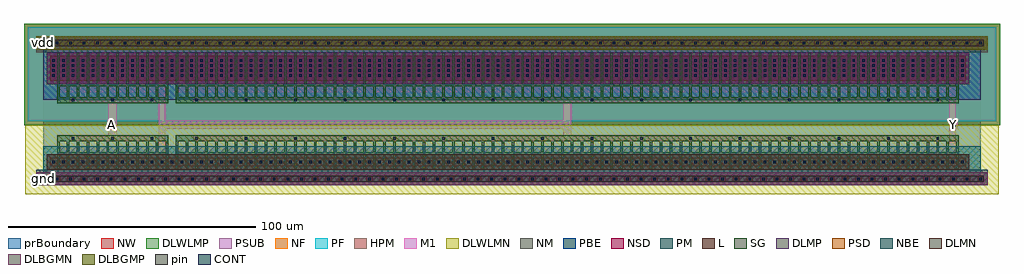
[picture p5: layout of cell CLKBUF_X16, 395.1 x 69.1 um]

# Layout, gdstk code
import gdstk
lib = gdstk.Library(unit=1e-6, precision=1e-09)
def R(c, l, rs):  # rectangles x0, y0, x1, y1
    for r in rs: c.add(gdstk.rectangle(r[:2], r[2:], *l))
def A(c, l, x, y, w, h, nx, ny, dx, dy):  # array of equal rectangles
    R(c, l, [(x+i*dx, y+j*dy, x+i*dx+w, y+j*dy+h) for i in range(nx) for j in range(ny)])
def P(c, l, *ps):  # polygons
    for p in ps: c.add(gdstk.Polygon(p, *l))
L = (3, 0)
NM = (7, 0)
SG = (8, 0)
PSD = (9, 0)
CONT = (11, 0)
M1 = (13, 0)
NF = (25, 0)
PF = (26, 0)
NSD = (28, 0)
HPM = (33, 0)
PM = (35, 0)
NW = (36, 0)
pin = (48, 1)
PSUB = (140, 0)
PBE = (146, 0)
NBE = (147, 0)
DLWLMP = (150, 0)
DLWLMN = (151, 0)
DLMP = (157, 0)
DLMN = (158, 0)
DLBGMP = (177, 0)
DLBGMN = (178, 0)
prBoundary = (235, 0)

clkbuf_x16 = lib.new_cell('CLKBUF_X16')
A(clkbuf_x16, L, -1.3, -1.3, 2.6, 2.6, 70, 2, 5.5, 55)
R(clkbuf_x16, L, [(2.8,5.1,373.4,8.5), (2.8,39.7,373.4,49.9)])
R(clkbuf_x16, NM, [(-2.75,-2.7,382.25,2.7)])
P(clkbuf_x16, NM, [(1.4,38.3),(1.4,51.3),(-2.75,51.3),(-2.75,57.7),(382.25,57.7),(382.25,51.3),(374.8,51.3),(374.8,38.3)])
P(clkbuf_x16, SG, [(5.6,3.9),(5.6,15.1),(6.6,15.1),(6.6,10.7),(9.6,10.7),(9.6,15.1),(10.6,15.1),(10.6,10.7),(13.6,10.7),(13.6,15.1),(14.6,15.1),(14.6,10.7),(17.6,10.7),(17.6,15.1),(18.6,15.1),(18.6,10.7),(21.6,10.7),(21.6,15.1),(22.6,15.1),(22.6,10.7),(25.6,10.7),(25.6,15.1),(26.6,15.1),(26.6,10.7),(29.6,10.7),(29.6,15.1),(30.6,15.1),(30.6,10.7),(33.6,10.7),(33.6,15.1),(34.6,15.1),(34.6,10.7),(37.6,10.7),(37.6,15.1),(38.6,15.1),(38.6,10.7),(41.6,10.7),(41.6,15.1),(42.6,15.1),(42.6,10.7),(45.6,10.7),(45.6,15.1),(46.6,15.1),(46.6,10.7),(49.6,10.7),(49.6,15.1),(5.6,15.1),(5.6,17.7),(50.6,17.7),(50.6,3.9),(49.6,3.9),(49.6,9.7),(46.6,9.7),(46.6,3.9),(45.6,3.9),(45.6,9.7),(42.6,9.7),(42.6,3.9),(41.6,3.9),(41.6,9.7),(38.6,9.7),(38.6,3.9),(37.6,3.9),(37.6,9.7),(34.6,9.7),(34.6,3.9),(33.6,3.9),(33.6,9.7),(30.6,9.7),(30.6,3.9),(29.6,3.9),(29.6,9.7),(26.6,9.7),(26.6,3.9),(25.6,3.9),(25.6,9.7),(22.6,9.7),(22.6,3.9),(21.6,3.9),(21.6,9.7),(18.6,9.7),(18.6,3.9),(17.6,3.9),(17.6,9.7),(14.6,9.7),(14.6,3.9),(13.6,3.9),(13.6,9.7),(10.6,9.7),(10.6,3.9),(9.6,3.9),(9.6,9.7),(6.6,9.7),(6.6,3.9)],
  [(53.6,3.9),(53.6,15.1),(54.6,15.1),(54.6,10.7),(57.6,10.7),(57.6,15.1),(58.6,15.1),(58.6,10.7),(61.6,10.7),(61.6,15.1),(62.6,15.1),(62.6,10.7),(65.6,10.7),(65.6,15.1),(66.6,15.1),(66.6,10.7),(69.6,10.7),(69.6,15.1),(70.6,15.1),(70.6,10.7),(73.6,10.7),(73.6,15.1),(74.6,15.1),(74.6,10.7),(77.6,10.7),(77.6,15.1),(78.6,15.1),(78.6,10.7),(81.6,10.7),(81.6,15.1),(82.6,15.1),(82.6,10.7),(85.6,10.7),(85.6,15.1),(86.6,15.1),(86.6,10.7),(89.6,10.7),(89.6,15.1),(90.6,15.1),(90.6,10.7),(93.6,10.7),(93.6,15.1),(94.6,15.1),(94.6,10.7),(97.6,10.7),(97.6,15.1),(98.6,15.1),(98.6,10.7),(101.6,10.7),(101.6,15.1),(102.6,15.1),(102.6,10.7),(105.6,10.7),(105.6,15.1),(106.6,15.1),(106.6,10.7),(109.6,10.7),(109.6,15.1),(110.6,15.1),(110.6,10.7),(113.6,10.7),(113.6,15.1),(114.6,15.1),(114.6,10.7),(117.6,10.7),(117.6,15.1),(118.6,15.1),(118.6,10.7),(121.6,10.7),(121.6,15.1),(122.6,15.1),(122.6,10.7),(125.6,10.7),(125.6,15.1),(126.6,15.1),(126.6,10.7),(129.6,10.7),(129.6,15.1),(130.6,15.1),(130.6,10.7),(133.6,10.7),(133.6,15.1),(134.6,15.1),(134.6,10.7),(137.6,10.7),(137.6,15.1),(138.6,15.1),(138.6,10.7),(141.6,10.7),(141.6,15.1),(142.6,15.1),(142.6,10.7),(145.6,10.7),(145.6,15.1),(146.6,15.1),(146.6,10.7),(149.6,10.7),(149.6,15.1),(150.6,15.1),(150.6,10.7),(153.6,10.7),(153.6,15.1),(154.6,15.1),(154.6,10.7),(157.6,10.7),(157.6,15.1),(158.6,15.1),(158.6,10.7),(161.6,10.7),(161.6,15.1),(162.6,15.1),(162.6,10.7),(165.6,10.7),(165.6,15.1),(166.6,15.1),(166.6,10.7),(169.6,10.7),(169.6,15.1),(170.6,15.1),(170.6,10.7),(173.6,10.7),(173.6,15.1),(174.6,15.1),(174.6,10.7),(177.6,10.7),(177.6,15.1),(178.6,15.1),(178.6,10.7),(181.6,10.7),(181.6,15.1),(182.6,15.1),(182.6,10.7),(185.6,10.7),(185.6,15.1),(186.6,15.1),(186.6,10.7),(189.6,10.7),(189.6,15.1),(190.6,15.1),(190.6,10.7),(193.6,10.7),(193.6,15.1),(194.6,15.1),(194.6,10.7),(197.6,10.7),(197.6,15.1),(198.6,15.1),(198.6,10.7),(201.6,10.7),(201.6,15.1),(202.6,15.1),(202.6,10.7),(205.6,10.7),(205.6,15.1),(206.6,15.1),(206.6,10.7),(209.6,10.7),(209.6,15.1),(210.6,15.1),(210.6,10.7),(213.6,10.7),(213.6,15.1),(214.6,15.1),(214.6,10.7),(217.6,10.7),(217.6,15.1),(218.6,15.1),(218.6,10.7),(221.6,10.7),(221.6,15.1),(222.6,15.1),(222.6,10.7),(225.6,10.7),(225.6,15.1),(226.6,15.1),(226.6,10.7),(229.6,10.7),(229.6,15.1),(230.6,15.1),(230.6,10.7),(233.6,10.7),(233.6,15.1),(234.6,15.1),(234.6,10.7),(237.6,10.7),(237.6,15.1),(238.6,15.1),(238.6,10.7),(241.6,10.7),(241.6,15.1),(242.6,15.1),(242.6,10.7),(245.6,10.7),(245.6,15.1),(246.6,15.1),(246.6,10.7),(249.6,10.7),(249.6,15.1),(250.6,15.1),(250.6,10.7),(253.6,10.7),(253.6,15.1),(254.6,15.1),(254.6,10.7),(257.6,10.7),(257.6,15.1),(258.6,15.1),(258.6,10.7),(261.6,10.7),(261.6,15.1),(262.6,15.1),(262.6,10.7),(265.6,10.7),(265.6,15.1),(266.6,15.1),(266.6,10.7),(269.6,10.7),(269.6,15.1),(270.6,15.1),(270.6,10.7),(273.6,10.7),(273.6,15.1),(274.6,15.1),(274.6,10.7),(277.6,10.7),(277.6,15.1),(278.6,15.1),(278.6,10.7),(281.6,10.7),(281.6,15.1),(282.6,15.1),(282.6,10.7),(285.6,10.7),(285.6,15.1),(286.6,15.1),(286.6,10.7),(289.6,10.7),(289.6,15.1),(290.6,15.1),(290.6,10.7),(293.6,10.7),(293.6,15.1),(294.6,15.1),(294.6,10.7),(297.6,10.7),(297.6,15.1),(298.6,15.1),(298.6,10.7),(301.6,10.7),(301.6,15.1),(302.6,15.1),(302.6,10.7),(305.6,10.7),(305.6,15.1),(306.6,15.1),(306.6,10.7),(309.6,10.7),(309.6,15.1),(310.6,15.1),(310.6,10.7),(313.6,10.7),(313.6,15.1),(314.6,15.1),(314.6,10.7),(317.6,10.7),(317.6,15.1),(318.6,15.1),(318.6,10.7),(321.6,10.7),(321.6,15.1),(322.6,15.1),(322.6,10.7),(325.6,10.7),(325.6,15.1),(326.6,15.1),(326.6,10.7),(329.6,10.7),(329.6,15.1),(330.6,15.1),(330.6,10.7),(333.6,10.7),(333.6,15.1),(334.6,15.1),(334.6,10.7),(337.6,10.7),(337.6,15.1),(338.6,15.1),(338.6,10.7),(341.6,10.7),(341.6,15.1),(342.6,15.1),(342.6,10.7),(345.6,10.7),(345.6,15.1),(346.6,15.1),(346.6,10.7),(349.6,10.7),(349.6,15.1),(350.6,15.1),(350.6,10.7),(353.6,10.7),(353.6,15.1),(354.6,15.1),(354.6,10.7),(357.6,10.7),(357.6,15.1),(358.6,15.1),(358.6,10.7),(361.6,10.7),(361.6,15.1),(362.6,15.1),(362.6,10.7),(365.6,10.7),(365.6,15.1),(366.6,15.1),(366.6,10.7),(369.6,10.7),(369.6,15.1),(53.6,15.1),(53.6,17.7),(370.6,17.7),(370.6,3.9),(369.6,3.9),(369.6,9.7),(366.6,9.7),(366.6,3.9),(365.6,3.9),(365.6,9.7),(362.6,9.7),(362.6,3.9),(361.6,3.9),(361.6,9.7),(358.6,9.7),(358.6,3.9),(357.6,3.9),(357.6,9.7),(354.6,9.7),(354.6,3.9),(353.6,3.9),(353.6,9.7),(350.6,9.7),(350.6,3.9),(349.6,3.9),(349.6,9.7),(346.6,9.7),(346.6,3.9),(345.6,3.9),(345.6,9.7),(342.6,9.7),(342.6,3.9),(341.6,3.9),(341.6,9.7),(338.6,9.7),(338.6,3.9),(337.6,3.9),(337.6,9.7),(334.6,9.7),(334.6,3.9),(333.6,3.9),(333.6,9.7),(330.6,9.7),(330.6,3.9),(329.6,3.9),(329.6,9.7),(326.6,9.7),(326.6,3.9),(325.6,3.9),(325.6,9.7),(322.6,9.7),(322.6,3.9),(321.6,3.9),(321.6,9.7),(318.6,9.7),(318.6,3.9),(317.6,3.9),(317.6,9.7),(314.6,9.7),(314.6,3.9),(313.6,3.9),(313.6,9.7),(310.6,9.7),(310.6,3.9),(309.6,3.9),(309.6,9.7),(306.6,9.7),(306.6,3.9),(305.6,3.9),(305.6,9.7),(302.6,9.7),(302.6,3.9),(301.6,3.9),(301.6,9.7),(298.6,9.7),(298.6,3.9),(297.6,3.9),(297.6,9.7),(294.6,9.7),(294.6,3.9),(293.6,3.9),(293.6,9.7),(290.6,9.7),(290.6,3.9),(289.6,3.9),(289.6,9.7),(286.6,9.7),(286.6,3.9),(285.6,3.9),(285.6,9.7),(282.6,9.7),(282.6,3.9),(281.6,3.9),(281.6,9.7),(278.6,9.7),(278.6,3.9),(277.6,3.9),(277.6,9.7),(274.6,9.7),(274.6,3.9),(273.6,3.9),(273.6,9.7),(270.6,9.7),(270.6,3.9),(269.6,3.9),(269.6,9.7),(266.6,9.7),(266.6,3.9),(265.6,3.9),(265.6,9.7),(262.6,9.7),(262.6,3.9),(261.6,3.9),(261.6,9.7),(258.6,9.7),(258.6,3.9),(257.6,3.9),(257.6,9.7),(254.6,9.7),(254.6,3.9),(253.6,3.9),(253.6,9.7),(250.6,9.7),(250.6,3.9),(249.6,3.9),(249.6,9.7),(246.6,9.7),(246.6,3.9),(245.6,3.9),(245.6,9.7),(242.6,9.7),(242.6,3.9),(241.6,3.9),(241.6,9.7),(238.6,9.7),(238.6,3.9),(237.6,3.9),(237.6,9.7),(234.6,9.7),(234.6,3.9),(233.6,3.9),(233.6,9.7),(230.6,9.7),(230.6,3.9),(229.6,3.9),(229.6,9.7),(226.6,9.7),(226.6,3.9),(225.6,3.9),(225.6,9.7),(222.6,9.7),(222.6,3.9),(221.6,3.9),(221.6,9.7),(218.6,9.7),(218.6,3.9),(217.6,3.9),(217.6,9.7),(214.6,9.7),(214.6,3.9),(213.6,3.9),(213.6,9.7),(210.6,9.7),(210.6,3.9),(209.6,3.9),(209.6,9.7),(206.6,9.7),(206.6,3.9),(205.6,3.9),(205.6,9.7),(202.6,9.7),(202.6,3.9),(201.6,3.9),(201.6,9.7),(198.6,9.7),(198.6,3.9),(197.6,3.9),(197.6,9.7),(194.6,9.7),(194.6,3.9),(193.6,3.9),(193.6,9.7),(190.6,9.7),(190.6,3.9),(189.6,3.9),(189.6,9.7),(186.6,9.7),(186.6,3.9),(185.6,3.9),(185.6,9.7),(182.6,9.7),(182.6,3.9),(181.6,3.9),(181.6,9.7),(178.6,9.7),(178.6,3.9),(177.6,3.9),(177.6,9.7),(174.6,9.7),(174.6,3.9),(173.6,3.9),(173.6,9.7),(170.6,9.7),(170.6,3.9),(169.6,3.9),(169.6,9.7),(166.6,9.7),(166.6,3.9),(165.6,3.9),(165.6,9.7),(162.6,9.7),(162.6,3.9),(161.6,3.9),(161.6,9.7),(158.6,9.7),(158.6,3.9),(157.6,3.9),(157.6,9.7),(154.6,9.7),(154.6,3.9),(153.6,3.9),(153.6,9.7),(150.6,9.7),(150.6,3.9),(149.6,3.9),(149.6,9.7),(146.6,9.7),(146.6,3.9),(145.6,3.9),(145.6,9.7),(142.6,9.7),(142.6,3.9),(141.6,3.9),(141.6,9.7),(138.6,9.7),(138.6,3.9),(137.6,3.9),(137.6,9.7),(134.6,9.7),(134.6,3.9),(133.6,3.9),(133.6,9.7),(130.6,9.7),(130.6,3.9),(129.6,3.9),(129.6,9.7),(126.6,9.7),(126.6,3.9),(125.6,3.9),(125.6,9.7),(122.6,9.7),(122.6,3.9),(121.6,3.9),(121.6,9.7),(118.6,9.7),(118.6,3.9),(117.6,3.9),(117.6,9.7),(114.6,9.7),(114.6,3.9),(113.6,3.9),(113.6,9.7),(110.6,9.7),(110.6,3.9),(109.6,3.9),(109.6,9.7),(106.6,9.7),(106.6,3.9),(105.6,3.9),(105.6,9.7),(102.6,9.7),(102.6,3.9),(101.6,3.9),(101.6,9.7),(98.6,9.7),(98.6,3.9),(97.6,3.9),(97.6,9.7),(94.6,9.7),(94.6,3.9),(93.6,3.9),(93.6,9.7),(90.6,9.7),(90.6,3.9),(89.6,3.9),(89.6,9.7),(86.6,9.7),(86.6,3.9),(85.6,3.9),(85.6,9.7),(82.6,9.7),(82.6,3.9),(81.6,3.9),(81.6,9.7),(78.6,9.7),(78.6,3.9),(77.6,3.9),(77.6,9.7),(74.6,9.7),(74.6,3.9),(73.6,3.9),(73.6,9.7),(70.6,9.7),(70.6,3.9),(69.6,3.9),(69.6,9.7),(66.6,9.7),(66.6,3.9),(65.6,3.9),(65.6,9.7),(62.6,9.7),(62.6,3.9),(61.6,3.9),(61.6,9.7),(58.6,9.7),(58.6,3.9),(57.6,3.9),(57.6,9.7),(54.6,9.7),(54.6,3.9)],
  [(5.6,30.5),(5.6,37.5),(6.6,37.5),(6.6,33.1),(9.6,33.1),(9.6,37.5),(10.6,37.5),(10.6,33.1),(13.6,33.1),(13.6,37.5),(14.6,37.5),(14.6,33.1),(17.6,33.1),(17.6,37.5),(18.6,37.5),(18.6,33.1),(21.6,33.1),(21.6,37.5),(22.6,37.5),(22.6,33.1),(25.6,33.1),(25.6,37.5),(26.6,37.5),(26.6,33.1),(29.6,33.1),(29.6,37.5),(30.6,37.5),(30.6,33.1),(33.6,33.1),(33.6,37.5),(34.6,37.5),(34.6,33.1),(37.6,33.1),(37.6,37.5),(38.6,37.5),(38.6,33.1),(41.6,33.1),(41.6,37.5),(42.6,37.5),(42.6,33.1),(45.6,33.1),(45.6,37.5),(46.6,37.5),(46.6,33.1),(49.6,33.1),(49.6,37.5),(5.6,37.5),(5.6,51.1),(6.6,51.1),(6.6,38.5),(9.6,38.5),(9.6,51.1),(10.6,51.1),(10.6,38.5),(13.6,38.5),(13.6,51.1),(14.6,51.1),(14.6,38.5),(17.6,38.5),(17.6,51.1),(18.6,51.1),(18.6,38.5),(21.6,38.5),(21.6,51.1),(22.6,51.1),(22.6,38.5),(25.6,38.5),(25.6,51.1),(26.6,51.1),(26.6,38.5),(29.6,38.5),(29.6,51.1),(30.6,51.1),(30.6,38.5),(33.6,38.5),(33.6,51.1),(34.6,51.1),(34.6,38.5),(37.6,38.5),(37.6,51.1),(38.6,51.1),(38.6,38.5),(41.6,38.5),(41.6,51.1),(42.6,51.1),(42.6,38.5),(45.6,38.5),(45.6,51.1),(46.6,51.1),(46.6,38.5),(49.6,38.5),(49.6,51.1),(50.6,51.1),(50.6,30.5)],
  [(53.6,30.5),(53.6,37.5),(54.6,37.5),(54.6,33.1),(57.6,33.1),(57.6,37.5),(58.6,37.5),(58.6,33.1),(61.6,33.1),(61.6,37.5),(62.6,37.5),(62.6,33.1),(65.6,33.1),(65.6,37.5),(66.6,37.5),(66.6,33.1),(69.6,33.1),(69.6,37.5),(70.6,37.5),(70.6,33.1),(73.6,33.1),(73.6,37.5),(74.6,37.5),(74.6,33.1),(77.6,33.1),(77.6,37.5),(78.6,37.5),(78.6,33.1),(81.6,33.1),(81.6,37.5),(82.6,37.5),(82.6,33.1),(85.6,33.1),(85.6,37.5),(86.6,37.5),(86.6,33.1),(89.6,33.1),(89.6,37.5),(90.6,37.5),(90.6,33.1),(93.6,33.1),(93.6,37.5),(94.6,37.5),(94.6,33.1),(97.6,33.1),(97.6,37.5),(98.6,37.5),(98.6,33.1),(101.6,33.1),(101.6,37.5),(102.6,37.5),(102.6,33.1),(105.6,33.1),(105.6,37.5),(106.6,37.5),(106.6,33.1),(109.6,33.1),(109.6,37.5),(110.6,37.5),(110.6,33.1),(113.6,33.1),(113.6,37.5),(114.6,37.5),(114.6,33.1),(117.6,33.1),(117.6,37.5),(118.6,37.5),(118.6,33.1),(121.6,33.1),(121.6,37.5),(122.6,37.5),(122.6,33.1),(125.6,33.1),(125.6,37.5),(126.6,37.5),(126.6,33.1),(129.6,33.1),(129.6,37.5),(130.6,37.5),(130.6,33.1),(133.6,33.1),(133.6,37.5),(134.6,37.5),(134.6,33.1),(137.6,33.1),(137.6,37.5),(138.6,37.5),(138.6,33.1),(141.6,33.1),(141.6,37.5),(142.6,37.5),(142.6,33.1),(145.6,33.1),(145.6,37.5),(146.6,37.5),(146.6,33.1),(149.6,33.1),(149.6,37.5),(150.6,37.5),(150.6,33.1),(153.6,33.1),(153.6,37.5),(154.6,37.5),(154.6,33.1),(157.6,33.1),(157.6,37.5),(158.6,37.5),(158.6,33.1),(161.6,33.1),(161.6,37.5),(162.6,37.5),(162.6,33.1),(165.6,33.1),(165.6,37.5),(166.6,37.5),(166.6,33.1),(169.6,33.1),(169.6,37.5),(170.6,37.5),(170.6,33.1),(173.6,33.1),(173.6,37.5),(174.6,37.5),(174.6,33.1),(177.6,33.1),(177.6,37.5),(178.6,37.5),(178.6,33.1),(181.6,33.1),(181.6,37.5),(182.6,37.5),(182.6,33.1),(185.6,33.1),(185.6,37.5),(186.6,37.5),(186.6,33.1),(189.6,33.1),(189.6,37.5),(190.6,37.5),(190.6,33.1),(193.6,33.1),(193.6,37.5),(194.6,37.5),(194.6,33.1),(197.6,33.1),(197.6,37.5),(198.6,37.5),(198.6,33.1),(201.6,33.1),(201.6,37.5),(202.6,37.5),(202.6,33.1),(205.6,33.1),(205.6,37.5),(206.6,37.5),(206.6,33.1),(209.6,33.1),(209.6,37.5),(210.6,37.5),(210.6,33.1),(213.6,33.1),(213.6,37.5),(214.6,37.5),(214.6,33.1),(217.6,33.1),(217.6,37.5),(218.6,37.5),(218.6,33.1),(221.6,33.1),(221.6,37.5),(222.6,37.5),(222.6,33.1),(225.6,33.1),(225.6,37.5),(226.6,37.5),(226.6,33.1),(229.6,33.1),(229.6,37.5),(230.6,37.5),(230.6,33.1),(233.6,33.1),(233.6,37.5),(234.6,37.5),(234.6,33.1),(237.6,33.1),(237.6,37.5),(238.6,37.5),(238.6,33.1),(241.6,33.1),(241.6,37.5),(242.6,37.5),(242.6,33.1),(245.6,33.1),(245.6,37.5),(246.6,37.5),(246.6,33.1),(249.6,33.1),(249.6,37.5),(250.6,37.5),(250.6,33.1),(253.6,33.1),(253.6,37.5),(254.6,37.5),(254.6,33.1),(257.6,33.1),(257.6,37.5),(258.6,37.5),(258.6,33.1),(261.6,33.1),(261.6,37.5),(262.6,37.5),(262.6,33.1),(265.6,33.1),(265.6,37.5),(266.6,37.5),(266.6,33.1),(269.6,33.1),(269.6,37.5),(270.6,37.5),(270.6,33.1),(273.6,33.1),(273.6,37.5),(274.6,37.5),(274.6,33.1),(277.6,33.1),(277.6,37.5),(278.6,37.5),(278.6,33.1),(281.6,33.1),(281.6,37.5),(282.6,37.5),(282.6,33.1),(285.6,33.1),(285.6,37.5),(286.6,37.5),(286.6,33.1),(289.6,33.1),(289.6,37.5),(290.6,37.5),(290.6,33.1),(293.6,33.1),(293.6,37.5),(294.6,37.5),(294.6,33.1),(297.6,33.1),(297.6,37.5),(298.6,37.5),(298.6,33.1),(301.6,33.1),(301.6,37.5),(302.6,37.5),(302.6,33.1),(305.6,33.1),(305.6,37.5),(306.6,37.5),(306.6,33.1),(309.6,33.1),(309.6,37.5),(310.6,37.5),(310.6,33.1),(313.6,33.1),(313.6,37.5),(314.6,37.5),(314.6,33.1),(317.6,33.1),(317.6,37.5),(318.6,37.5),(318.6,33.1),(321.6,33.1),(321.6,37.5),(322.6,37.5),(322.6,33.1),(325.6,33.1),(325.6,37.5),(326.6,37.5),(326.6,33.1),(329.6,33.1),(329.6,37.5),(330.6,37.5),(330.6,33.1),(333.6,33.1),(333.6,37.5),(334.6,37.5),(334.6,33.1),(337.6,33.1),(337.6,37.5),(338.6,37.5),(338.6,33.1),(341.6,33.1),(341.6,37.5),(342.6,37.5),(342.6,33.1),(345.6,33.1),(345.6,37.5),(346.6,37.5),(346.6,33.1),(349.6,33.1),(349.6,37.5),(350.6,37.5),(350.6,33.1),(353.6,33.1),(353.6,37.5),(354.6,37.5),(354.6,33.1),(357.6,33.1),(357.6,37.5),(358.6,37.5),(358.6,33.1),(361.6,33.1),(361.6,37.5),(362.6,37.5),(362.6,33.1),(365.6,33.1),(365.6,37.5),(366.6,37.5),(366.6,33.1),(369.6,33.1),(369.6,37.5),(53.6,37.5),(53.6,51.1),(54.6,51.1),(54.6,38.5),(57.6,38.5),(57.6,51.1),(58.6,51.1),(58.6,38.5),(61.6,38.5),(61.6,51.1),(62.6,51.1),(62.6,38.5),(65.6,38.5),(65.6,51.1),(66.6,51.1),(66.6,38.5),(69.6,38.5),(69.6,51.1),(70.6,51.1),(70.6,38.5),(73.6,38.5),(73.6,51.1),(74.6,51.1),(74.6,38.5),(77.6,38.5),(77.6,51.1),(78.6,51.1),(78.6,38.5),(81.6,38.5),(81.6,51.1),(82.6,51.1),(82.6,38.5),(85.6,38.5),(85.6,51.1),(86.6,51.1),(86.6,38.5),(89.6,38.5),(89.6,51.1),(90.6,51.1),(90.6,38.5),(93.6,38.5),(93.6,51.1),(94.6,51.1),(94.6,38.5),(97.6,38.5),(97.6,51.1),(98.6,51.1),(98.6,38.5),(101.6,38.5),(101.6,51.1),(102.6,51.1),(102.6,38.5),(105.6,38.5),(105.6,51.1),(106.6,51.1),(106.6,38.5),(109.6,38.5),(109.6,51.1),(110.6,51.1),(110.6,38.5),(113.6,38.5),(113.6,51.1),(114.6,51.1),(114.6,38.5),(117.6,38.5),(117.6,51.1),(118.6,51.1),(118.6,38.5),(121.6,38.5),(121.6,51.1),(122.6,51.1),(122.6,38.5),(125.6,38.5),(125.6,51.1),(126.6,51.1),(126.6,38.5),(129.6,38.5),(129.6,51.1),(130.6,51.1),(130.6,38.5),(133.6,38.5),(133.6,51.1),(134.6,51.1),(134.6,38.5),(137.6,38.5),(137.6,51.1),(138.6,51.1),(138.6,38.5),(141.6,38.5),(141.6,51.1),(142.6,51.1),(142.6,38.5),(145.6,38.5),(145.6,51.1),(146.6,51.1),(146.6,38.5),(149.6,38.5),(149.6,51.1),(150.6,51.1),(150.6,38.5),(153.6,38.5),(153.6,51.1),(154.6,51.1),(154.6,38.5),(157.6,38.5),(157.6,51.1),(158.6,51.1),(158.6,38.5),(161.6,38.5),(161.6,51.1),(162.6,51.1),(162.6,38.5),(165.6,38.5),(165.6,51.1),(166.6,51.1),(166.6,38.5),(169.6,38.5),(169.6,51.1),(170.6,51.1),(170.6,38.5),(173.6,38.5),(173.6,51.1),(174.6,51.1),(174.6,38.5),(177.6,38.5),(177.6,51.1),(178.6,51.1),(178.6,38.5),(181.6,38.5),(181.6,51.1),(182.6,51.1),(182.6,38.5),(185.6,38.5),(185.6,51.1),(186.6,51.1),(186.6,38.5),(189.6,38.5),(189.6,51.1),(190.6,51.1),(190.6,38.5),(193.6,38.5),(193.6,51.1),(194.6,51.1),(194.6,38.5),(197.6,38.5),(197.6,51.1),(198.6,51.1),(198.6,38.5),(201.6,38.5),(201.6,51.1),(202.6,51.1),(202.6,38.5),(205.6,38.5),(205.6,51.1),(206.6,51.1),(206.6,38.5),(209.6,38.5),(209.6,51.1),(210.6,51.1),(210.6,38.5),(213.6,38.5),(213.6,51.1),(214.6,51.1),(214.6,38.5),(217.6,38.5),(217.6,51.1),(218.6,51.1),(218.6,38.5),(221.6,38.5),(221.6,51.1),(222.6,51.1),(222.6,38.5),(225.6,38.5),(225.6,51.1),(226.6,51.1),(226.6,38.5),(229.6,38.5),(229.6,51.1),(230.6,51.1),(230.6,38.5),(233.6,38.5),(233.6,51.1),(234.6,51.1),(234.6,38.5),(237.6,38.5),(237.6,51.1),(238.6,51.1),(238.6,38.5),(241.6,38.5),(241.6,51.1),(242.6,51.1),(242.6,38.5),(245.6,38.5),(245.6,51.1),(246.6,51.1),(246.6,38.5),(249.6,38.5),(249.6,51.1),(250.6,51.1),(250.6,38.5),(253.6,38.5),(253.6,51.1),(254.6,51.1),(254.6,38.5),(257.6,38.5),(257.6,51.1),(258.6,51.1),(258.6,38.5),(261.6,38.5),(261.6,51.1),(262.6,51.1),(262.6,38.5),(265.6,38.5),(265.6,51.1),(266.6,51.1),(266.6,38.5),(269.6,38.5),(269.6,51.1),(270.6,51.1),(270.6,38.5),(273.6,38.5),(273.6,51.1),(274.6,51.1),(274.6,38.5),(277.6,38.5),(277.6,51.1),(278.6,51.1),(278.6,38.5),(281.6,38.5),(281.6,51.1),(282.6,51.1),(282.6,38.5),(285.6,38.5),(285.6,51.1),(286.6,51.1),(286.6,38.5),(289.6,38.5),(289.6,51.1),(290.6,51.1),(290.6,38.5),(293.6,38.5),(293.6,51.1),(294.6,51.1),(294.6,38.5),(297.6,38.5),(297.6,51.1),(298.6,51.1),(298.6,38.5),(301.6,38.5),(301.6,51.1),(302.6,51.1),(302.6,38.5),(305.6,38.5),(305.6,51.1),(306.6,51.1),(306.6,38.5),(309.6,38.5),(309.6,51.1),(310.6,51.1),(310.6,38.5),(313.6,38.5),(313.6,51.1),(314.6,51.1),(314.6,38.5),(317.6,38.5),(317.6,51.1),(318.6,51.1),(318.6,38.5),(321.6,38.5),(321.6,51.1),(322.6,51.1),(322.6,38.5),(325.6,38.5),(325.6,51.1),(326.6,51.1),(326.6,38.5),(329.6,38.5),(329.6,51.1),(330.6,51.1),(330.6,38.5),(333.6,38.5),(333.6,51.1),(334.6,51.1),(334.6,38.5),(337.6,38.5),(337.6,51.1),(338.6,51.1),(338.6,38.5),(341.6,38.5),(341.6,51.1),(342.6,51.1),(342.6,38.5),(345.6,38.5),(345.6,51.1),(346.6,51.1),(346.6,38.5),(349.6,38.5),(349.6,51.1),(350.6,51.1),(350.6,38.5),(353.6,38.5),(353.6,51.1),(354.6,51.1),(354.6,38.5),(357.6,38.5),(357.6,51.1),(358.6,51.1),(358.6,38.5),(361.6,38.5),(361.6,51.1),(362.6,51.1),(362.6,38.5),(365.6,38.5),(365.6,51.1),(366.6,51.1),(366.6,38.5),(369.6,38.5),(369.6,51.1),(370.6,51.1),(370.6,30.5)])
R(clkbuf_x16, PSD, [(1.4,3.7,374.8,9.9), (-2.75,52.3,382.25,57.7)])
A(clkbuf_x16, CONT, -0.5, -0.5, 1, 1, 70, 2, 5.5, 55)
A(clkbuf_x16, CONT, 3.6, 6.3, 1, 1, 13, 2, 4, 35)
A(clkbuf_x16, CONT, 51.6, 6.3, 1, 1, 81, 2, 4, 35)
A(clkbuf_x16, CONT, 11.6, 15.9, 1, 1, 3, 2, 16, 15.4)
A(clkbuf_x16, CONT, 61.6, 15.9, 1, 1, 16, 2, 20, 15.4)
A(clkbuf_x16, CONT, 51.6, 41.3, 1, 1, 1, 4, 0, 2)
A(clkbuf_x16, CONT, 371.6, 41.3, 1, 1, 1, 4, 0, 2)
A(clkbuf_x16, CONT, 3.6, 43.3, 1, 1, 13, 3, 4, 2)
A(clkbuf_x16, CONT, 51.6, 43.3, 1, 1, 81, 3, 4, 2)
P(clkbuf_x16, M1, [(-1.3,-1.3),(-1.3,1.3),(2.8,1.3),(2.8,1.9),(5.4,1.9),(5.4,1.3),(10.8,1.3),(10.8,1.9),(13.4,1.9),(13.4,1.3),(18.8,1.3),(18.8,1.9),(21.4,1.9),(21.4,1.3),(26.8,1.3),(26.8,1.9),(29.4,1.9),(29.4,1.3),(34.8,1.3),(34.8,1.9),(37.4,1.9),(37.4,1.3),(42.8,1.3),(42.8,1.9),(45.4,1.9),(45.4,1.3),(50.8,1.3),(50.8,1.9),(53.4,1.9),(53.4,1.3),(58.8,1.3),(58.8,1.9),(61.4,1.9),(61.4,1.3),(66.8,1.3),(66.8,1.9),(69.4,1.9),(69.4,1.3),(74.8,1.3),(74.8,1.9),(77.4,1.9),(77.4,1.3),(82.8,1.3),(82.8,1.9),(85.4,1.9),(85.4,1.3),(90.8,1.3),(90.8,1.9),(93.4,1.9),(93.4,1.3),(98.8,1.3),(98.8,1.9),(101.4,1.9),(101.4,1.3),(106.8,1.3),(106.8,1.9),(109.4,1.9),(109.4,1.3),(114.8,1.3),(114.8,1.9),(117.4,1.9),(117.4,1.3),(122.8,1.3),(122.8,1.9),(125.4,1.9),(125.4,1.3),(130.8,1.3),(130.8,1.9),(133.4,1.9),(133.4,1.3),(138.8,1.3),(138.8,1.9),(141.4,1.9),(141.4,1.3),(146.8,1.3),(146.8,1.9),(149.4,1.9),(149.4,1.3),(154.8,1.3),(154.8,1.9),(157.4,1.9),(157.4,1.3),(162.8,1.3),(162.8,1.9),(165.4,1.9),(165.4,1.3),(170.8,1.3),(170.8,1.9),(173.4,1.9),(173.4,1.3),(178.8,1.3),(178.8,1.9),(181.4,1.9),(181.4,1.3),(186.8,1.3),(186.8,1.9),(189.4,1.9),(189.4,1.3),(194.8,1.3),(194.8,1.9),(197.4,1.9),(197.4,1.3),(202.8,1.3),(202.8,1.9),(205.4,1.9),(205.4,1.3),(210.8,1.3),(210.8,1.9),(213.4,1.9),(213.4,1.3),(218.8,1.3),(218.8,1.9),(221.4,1.9),(221.4,1.3),(226.8,1.3),(226.8,1.9),(229.4,1.9),(229.4,1.3),(234.8,1.3),(234.8,1.9),(237.4,1.9),(237.4,1.3),(242.8,1.3),(242.8,1.9),(245.4,1.9),(245.4,1.3),(250.8,1.3),(250.8,1.9),(253.4,1.9),(253.4,1.3),(258.8,1.3),(258.8,1.9),(261.4,1.9),(261.4,1.3),(266.8,1.3),(266.8,1.9),(269.4,1.9),(269.4,1.3),(274.8,1.3),(274.8,1.9),(277.4,1.9),(277.4,1.3),(282.8,1.3),(282.8,1.9),(285.4,1.9),(285.4,1.3),(290.8,1.3),(290.8,1.9),(293.4,1.9),(293.4,1.3),(298.8,1.3),(298.8,1.9),(301.4,1.9),(301.4,1.3),(306.8,1.3),(306.8,1.9),(309.4,1.9),(309.4,1.3),(314.8,1.3),(314.8,1.9),(317.4,1.9),(317.4,1.3),(322.8,1.3),(322.8,1.9),(325.4,1.9),(325.4,1.3),(330.8,1.3),(330.8,1.9),(333.4,1.9),(333.4,1.3),(338.8,1.3),(338.8,1.9),(341.4,1.9),(341.4,1.3),(346.8,1.3),(346.8,1.9),(349.4,1.9),(349.4,1.3),(354.8,1.3),(354.8,1.9),(357.4,1.9),(357.4,1.3),(362.8,1.3),(362.8,1.9),(365.4,1.9),(365.4,1.3),(370.8,1.3),(370.8,1.9),(2.8,1.9),(2.8,8.5),(5.4,8.5),(5.4,3.7),(10.8,3.7),(10.8,8.5),(13.4,8.5),(13.4,3.7),(18.8,3.7),(18.8,8.5),(21.4,8.5),(21.4,3.7),(26.8,3.7),(26.8,8.5),(29.4,8.5),(29.4,3.7),(34.8,3.7),(34.8,8.5),(37.4,8.5),(37.4,3.7),(42.8,3.7),(42.8,8.5),(45.4,8.5),(45.4,3.7),(50.8,3.7),(50.8,8.5),(53.4,8.5),(53.4,3.7),(58.8,3.7),(58.8,8.5),(61.4,8.5),(61.4,3.7),(66.8,3.7),(66.8,8.5),(69.4,8.5),(69.4,3.7),(74.8,3.7),(74.8,8.5),(77.4,8.5),(77.4,3.7),(82.8,3.7),(82.8,8.5),(85.4,8.5),(85.4,3.7),(90.8,3.7),(90.8,8.5),(93.4,8.5),(93.4,3.7),(98.8,3.7),(98.8,8.5),(101.4,8.5),(101.4,3.7),(106.8,3.7),(106.8,8.5),(109.4,8.5),(109.4,3.7),(114.8,3.7),(114.8,8.5),(117.4,8.5),(117.4,3.7),(122.8,3.7),(122.8,8.5),(125.4,8.5),(125.4,3.7),(130.8,3.7),(130.8,8.5),(133.4,8.5),(133.4,3.7),(138.8,3.7),(138.8,8.5),(141.4,8.5),(141.4,3.7),(146.8,3.7),(146.8,8.5),(149.4,8.5),(149.4,3.7),(154.8,3.7),(154.8,8.5),(157.4,8.5),(157.4,3.7),(162.8,3.7),(162.8,8.5),(165.4,8.5),(165.4,3.7),(170.8,3.7),(170.8,8.5),(173.4,8.5),(173.4,3.7),(178.8,3.7),(178.8,8.5),(181.4,8.5),(181.4,3.7),(186.8,3.7),(186.8,8.5),(189.4,8.5),(189.4,3.7),(194.8,3.7),(194.8,8.5),(197.4,8.5),(197.4,3.7),(202.8,3.7),(202.8,8.5),(205.4,8.5),(205.4,3.7),(210.8,3.7),(210.8,8.5),(213.4,8.5),(213.4,3.7),(218.8,3.7),(218.8,8.5),(221.4,8.5),(221.4,3.7),(226.8,3.7),(226.8,8.5),(229.4,8.5),(229.4,3.7),(234.8,3.7),(234.8,8.5),(237.4,8.5),(237.4,3.7),(242.8,3.7),(242.8,8.5),(245.4,8.5),(245.4,3.7),(250.8,3.7),(250.8,8.5),(253.4,8.5),(253.4,3.7),(258.8,3.7),(258.8,8.5),(261.4,8.5),(261.4,3.7),(266.8,3.7),(266.8,8.5),(269.4,8.5),(269.4,3.7),(274.8,3.7),(274.8,8.5),(277.4,8.5),(277.4,3.7),(282.8,3.7),(282.8,8.5),(285.4,8.5),(285.4,3.7),(290.8,3.7),(290.8,8.5),(293.4,8.5),(293.4,3.7),(298.8,3.7),(298.8,8.5),(301.4,8.5),(301.4,3.7),(306.8,3.7),(306.8,8.5),(309.4,8.5),(309.4,3.7),(314.8,3.7),(314.8,8.5),(317.4,8.5),(317.4,3.7),(322.8,3.7),(322.8,8.5),(325.4,8.5),(325.4,3.7),(330.8,3.7),(330.8,8.5),(333.4,8.5),(333.4,3.7),(338.8,3.7),(338.8,8.5),(341.4,8.5),(341.4,3.7),(346.8,3.7),(346.8,8.5),(349.4,8.5),(349.4,3.7),(354.8,3.7),(354.8,8.5),(357.4,8.5),(357.4,3.7),(362.8,3.7),(362.8,8.5),(365.4,8.5),(365.4,3.7),(370.8,3.7),(370.8,8.5),(373.4,8.5),(373.4,1.3),(380.8,1.3),(380.8,-1.3)],
  [(10.8,15.1),(10.8,17.7),(13.4,17.7),(13.4,17.4),(26.4,17.4),(26.4,20.3),(25.8,20.3),(25.8,23.7),(26.4,23.7),(26.4,30.8),(13.4,30.8),(13.4,30.5),(10.8,30.5),(10.8,33.1),(13.4,33.1),(13.4,32.8),(26.8,32.8),(26.8,33.1),(29.4,33.1),(29.4,32.8),(42.8,32.8),(42.8,33.1),(45.4,33.1),(45.4,30.5),(42.8,30.5),(42.8,30.8),(29.8,30.8),(29.8,17.4),(42.8,17.4),(42.8,17.7),(45.4,17.7),(45.4,15.1),(42.8,15.1),(42.8,15.4),(29.4,15.4),(29.4,15.1),(26.8,15.1),(26.8,15.4),(13.4,15.4),(13.4,15.1)],
  [(6.8,5.1),(6.8,13.1),(46.8,13.1),(46.8,35.1),(6.8,35.1),(6.8,49.9),(9.4,49.9),(9.4,37.7),(14.8,37.7),(14.8,49.9),(17.4,49.9),(17.4,37.7),(22.8,37.7),(22.8,49.9),(25.4,49.9),(25.4,37.7),(30.8,37.7),(30.8,49.9),(33.4,49.9),(33.4,37.7),(38.8,37.7),(38.8,49.9),(41.4,49.9),(41.4,37.7),(46.8,37.7),(46.8,49.9),(49.4,49.9),(49.4,23.7),(210.4,23.7),(210.4,30.8),(203.4,30.8),(203.4,30.5),(200.8,30.5),(200.8,30.8),(183.4,30.8),(183.4,30.5),(180.8,30.5),(180.8,30.8),(163.4,30.8),(163.4,30.5),(160.8,30.5),(160.8,30.8),(143.4,30.8),(143.4,30.5),(140.8,30.5),(140.8,30.8),(123.4,30.8),(123.4,30.5),(120.8,30.5),(120.8,30.8),(103.4,30.8),(103.4,30.5),(100.8,30.5),(100.8,30.8),(83.4,30.8),(83.4,30.5),(80.8,30.5),(80.8,30.8),(63.4,30.8),(63.4,30.5),(60.8,30.5),(60.8,33.1),(63.4,33.1),(63.4,32.8),(80.8,32.8),(80.8,33.1),(83.4,33.1),(83.4,32.8),(100.8,32.8),(100.8,33.1),(103.4,33.1),(103.4,32.8),(120.8,32.8),(120.8,33.1),(123.4,33.1),(123.4,32.8),(140.8,32.8),(140.8,33.1),(143.4,33.1),(143.4,32.8),(160.8,32.8),(160.8,33.1),(163.4,33.1),(163.4,32.8),(180.8,32.8),(180.8,33.1),(183.4,33.1),(183.4,32.8),(200.8,32.8),(200.8,33.1),(203.4,33.1),(203.4,32.8),(220.8,32.8),(220.8,33.1),(223.4,33.1),(223.4,32.8),(240.8,32.8),(240.8,33.1),(243.4,33.1),(243.4,32.8),(260.8,32.8),(260.8,33.1),(263.4,33.1),(263.4,32.8),(280.8,32.8),(280.8,33.1),(283.4,33.1),(283.4,32.8),(300.8,32.8),(300.8,33.1),(303.4,33.1),(303.4,32.8),(320.8,32.8),(320.8,33.1),(323.4,33.1),(323.4,32.8),(340.8,32.8),(340.8,33.1),(343.4,33.1),(343.4,32.8),(360.8,32.8),(360.8,33.1),(363.4,33.1),(363.4,30.5),(360.8,30.5),(360.8,30.8),(343.4,30.8),(343.4,30.5),(340.8,30.5),(340.8,30.8),(323.4,30.8),(323.4,30.5),(320.8,30.5),(320.8,30.8),(303.4,30.8),(303.4,30.5),(300.8,30.5),(300.8,30.8),(283.4,30.8),(283.4,30.5),(280.8,30.5),(280.8,30.8),(263.4,30.8),(263.4,30.5),(260.8,30.5),(260.8,30.8),(243.4,30.8),(243.4,30.5),(240.8,30.5),(240.8,30.8),(223.4,30.8),(223.4,30.5),(220.8,30.5),(220.8,30.8),(213.8,30.8),(213.8,17.4),(220.8,17.4),(220.8,17.7),(223.4,17.7),(223.4,17.4),(240.8,17.4),(240.8,17.7),(243.4,17.7),(243.4,17.4),(260.8,17.4),(260.8,17.7),(263.4,17.7),(263.4,17.4),(280.8,17.4),(280.8,17.7),(283.4,17.7),(283.4,17.4),(300.8,17.4),(300.8,17.7),(303.4,17.7),(303.4,17.4),(320.8,17.4),(320.8,17.7),(323.4,17.7),(323.4,17.4),(340.8,17.4),(340.8,17.7),(343.4,17.7),(343.4,17.4),(360.8,17.4),(360.8,17.7),(363.4,17.7),(363.4,15.1),(360.8,15.1),(360.8,15.4),(343.4,15.4),(343.4,15.1),(340.8,15.1),(340.8,15.4),(323.4,15.4),(323.4,15.1),(320.8,15.1),(320.8,15.4),(303.4,15.4),(303.4,15.1),(300.8,15.1),(300.8,15.4),(283.4,15.4),(283.4,15.1),(280.8,15.1),(280.8,15.4),(263.4,15.4),(263.4,15.1),(260.8,15.1),(260.8,15.4),(243.4,15.4),(243.4,15.1),(240.8,15.1),(240.8,15.4),(223.4,15.4),(223.4,15.1),(220.8,15.1),(220.8,15.4),(203.4,15.4),(203.4,15.1),(200.8,15.1),(200.8,15.4),(183.4,15.4),(183.4,15.1),(180.8,15.1),(180.8,15.4),(163.4,15.4),(163.4,15.1),(160.8,15.1),(160.8,15.4),(143.4,15.4),(143.4,15.1),(140.8,15.1),(140.8,15.4),(123.4,15.4),(123.4,15.1),(120.8,15.1),(120.8,15.4),(103.4,15.4),(103.4,15.1),(100.8,15.1),(100.8,15.4),(83.4,15.4),(83.4,15.1),(80.8,15.1),(80.8,15.4),(63.4,15.4),(63.4,15.1),(60.8,15.1),(60.8,17.7),(63.4,17.7),(63.4,17.4),(80.8,17.4),(80.8,17.7),(83.4,17.7),(83.4,17.4),(100.8,17.4),(100.8,17.7),(103.4,17.7),(103.4,17.4),(120.8,17.4),(120.8,17.7),(123.4,17.7),(123.4,17.4),(140.8,17.4),(140.8,17.7),(143.4,17.7),(143.4,17.4),(160.8,17.4),(160.8,17.7),(163.4,17.7),(163.4,17.4),(180.8,17.4),(180.8,17.7),(183.4,17.7),(183.4,17.4),(200.8,17.4),(200.8,17.7),(203.4,17.7),(203.4,17.4),(210.4,17.4),(210.4,20.3),(49.4,20.3),(49.4,5.1),(46.8,5.1),(46.8,10.5),(41.4,10.5),(41.4,5.1),(38.8,5.1),(38.8,10.5),(33.4,10.5),(33.4,5.1),(30.8,5.1),(30.8,10.5),(25.4,10.5),(25.4,5.1),(22.8,5.1),(22.8,10.5),(17.4,10.5),(17.4,5.1),(14.8,5.1),(14.8,10.5),(9.4,10.5),(9.4,5.1)],
  [(54.8,5.1),(54.8,13.1),(366.8,13.1),(366.8,35.1),(54.8,35.1),(54.8,49.9),(57.4,49.9),(57.4,37.7),(62.8,37.7),(62.8,49.9),(65.4,49.9),(65.4,37.7),(70.8,37.7),(70.8,49.9),(73.4,49.9),(73.4,37.7),(78.8,37.7),(78.8,49.9),(81.4,49.9),(81.4,37.7),(86.8,37.7),(86.8,49.9),(89.4,49.9),(89.4,37.7),(94.8,37.7),(94.8,49.9),(97.4,49.9),(97.4,37.7),(102.8,37.7),(102.8,49.9),(105.4,49.9),(105.4,37.7),(110.8,37.7),(110.8,49.9),(113.4,49.9),(113.4,37.7),(118.8,37.7),(118.8,49.9),(121.4,49.9),(121.4,37.7),(126.8,37.7),(126.8,49.9),(129.4,49.9),(129.4,37.7),(134.8,37.7),(134.8,49.9),(137.4,49.9),(137.4,37.7),(142.8,37.7),(142.8,49.9),(145.4,49.9),(145.4,37.7),(150.8,37.7),(150.8,49.9),(153.4,49.9),(153.4,37.7),(158.8,37.7),(158.8,49.9),(161.4,49.9),(161.4,37.7),(166.8,37.7),(166.8,49.9),(169.4,49.9),(169.4,37.7),(174.8,37.7),(174.8,49.9),(177.4,49.9),(177.4,37.7),(182.8,37.7),(182.8,49.9),(185.4,49.9),(185.4,37.7),(190.8,37.7),(190.8,49.9),(193.4,49.9),(193.4,37.7),(198.8,37.7),(198.8,49.9),(201.4,49.9),(201.4,37.7),(206.8,37.7),(206.8,49.9),(209.4,49.9),(209.4,37.7),(214.8,37.7),(214.8,49.9),(217.4,49.9),(217.4,37.7),(222.8,37.7),(222.8,49.9),(225.4,49.9),(225.4,37.7),(230.8,37.7),(230.8,49.9),(233.4,49.9),(233.4,37.7),(238.8,37.7),(238.8,49.9),(241.4,49.9),(241.4,37.7),(246.8,37.7),(246.8,49.9),(249.4,49.9),(249.4,37.7),(254.8,37.7),(254.8,49.9),(257.4,49.9),(257.4,37.7),(262.8,37.7),(262.8,49.9),(265.4,49.9),(265.4,37.7),(270.8,37.7),(270.8,49.9),(273.4,49.9),(273.4,37.7),(278.8,37.7),(278.8,49.9),(281.4,49.9),(281.4,37.7),(286.8,37.7),(286.8,49.9),(289.4,49.9),(289.4,37.7),(294.8,37.7),(294.8,49.9),(297.4,49.9),(297.4,37.7),(302.8,37.7),(302.8,49.9),(305.4,49.9),(305.4,37.7),(310.8,37.7),(310.8,49.9),(313.4,49.9),(313.4,37.7),(318.8,37.7),(318.8,49.9),(321.4,49.9),(321.4,37.7),(326.8,37.7),(326.8,49.9),(329.4,49.9),(329.4,37.7),(334.8,37.7),(334.8,49.9),(337.4,49.9),(337.4,37.7),(342.8,37.7),(342.8,49.9),(345.4,49.9),(345.4,37.7),(350.8,37.7),(350.8,49.9),(353.4,49.9),(353.4,37.7),(358.8,37.7),(358.8,49.9),(361.4,49.9),(361.4,37.7),(366.8,37.7),(366.8,49.9),(369.4,49.9),(369.4,23.7),(370.2,23.7),(370.2,20.3),(369.4,20.3),(369.4,5.1),(366.8,5.1),(366.8,10.5),(361.4,10.5),(361.4,5.1),(358.8,5.1),(358.8,10.5),(353.4,10.5),(353.4,5.1),(350.8,5.1),(350.8,10.5),(345.4,10.5),(345.4,5.1),(342.8,5.1),(342.8,10.5),(337.4,10.5),(337.4,5.1),(334.8,5.1),(334.8,10.5),(329.4,10.5),(329.4,5.1),(326.8,5.1),(326.8,10.5),(321.4,10.5),(321.4,5.1),(318.8,5.1),(318.8,10.5),(313.4,10.5),(313.4,5.1),(310.8,5.1),(310.8,10.5),(305.4,10.5),(305.4,5.1),(302.8,5.1),(302.8,10.5),(297.4,10.5),(297.4,5.1),(294.8,5.1),(294.8,10.5),(289.4,10.5),(289.4,5.1),(286.8,5.1),(286.8,10.5),(281.4,10.5),(281.4,5.1),(278.8,5.1),(278.8,10.5),(273.4,10.5),(273.4,5.1),(270.8,5.1),(270.8,10.5),(265.4,10.5),(265.4,5.1),(262.8,5.1),(262.8,10.5),(257.4,10.5),(257.4,5.1),(254.8,5.1),(254.8,10.5),(249.4,10.5),(249.4,5.1),(246.8,5.1),(246.8,10.5),(241.4,10.5),(241.4,5.1),(238.8,5.1),(238.8,10.5),(233.4,10.5),(233.4,5.1),(230.8,5.1),(230.8,10.5),(225.4,10.5),(225.4,5.1),(222.8,5.1),(222.8,10.5),(217.4,10.5),(217.4,5.1),(214.8,5.1),(214.8,10.5),(209.4,10.5),(209.4,5.1),(206.8,5.1),(206.8,10.5),(201.4,10.5),(201.4,5.1),(198.8,5.1),(198.8,10.5),(193.4,10.5),(193.4,5.1),(190.8,5.1),(190.8,10.5),(185.4,10.5),(185.4,5.1),(182.8,5.1),(182.8,10.5),(177.4,10.5),(177.4,5.1),(174.8,5.1),(174.8,10.5),(169.4,10.5),(169.4,5.1),(166.8,5.1),(166.8,10.5),(161.4,10.5),(161.4,5.1),(158.8,5.1),(158.8,10.5),(153.4,10.5),(153.4,5.1),(150.8,5.1),(150.8,10.5),(145.4,10.5),(145.4,5.1),(142.8,5.1),(142.8,10.5),(137.4,10.5),(137.4,5.1),(134.8,5.1),(134.8,10.5),(129.4,10.5),(129.4,5.1),(126.8,5.1),(126.8,10.5),(121.4,10.5),(121.4,5.1),(118.8,5.1),(118.8,10.5),(113.4,10.5),(113.4,5.1),(110.8,5.1),(110.8,10.5),(105.4,10.5),(105.4,5.1),(102.8,5.1),(102.8,10.5),(97.4,10.5),(97.4,5.1),(94.8,5.1),(94.8,10.5),(89.4,10.5),(89.4,5.1),(86.8,5.1),(86.8,10.5),(81.4,10.5),(81.4,5.1),(78.8,5.1),(78.8,10.5),(73.4,10.5),(73.4,5.1),(70.8,5.1),(70.8,10.5),(65.4,10.5),(65.4,5.1),(62.8,5.1),(62.8,10.5),(57.4,10.5),(57.4,5.1)],
  [(2.8,39.7),(2.8,53.7),(5.4,53.7),(5.4,53.1),(10.8,53.1),(10.8,53.7),(13.4,53.7),(13.4,53.1),(18.8,53.1),(18.8,53.7),(21.4,53.7),(21.4,53.1),(26.8,53.1),(26.8,53.7),(29.4,53.7),(29.4,53.1),(34.8,53.1),(34.8,53.7),(37.4,53.7),(37.4,53.1),(42.8,53.1),(42.8,53.7),(45.4,53.7),(45.4,53.1),(50.8,53.1),(50.8,53.7),(53.4,53.7),(53.4,53.1),(58.8,53.1),(58.8,53.7),(61.4,53.7),(61.4,53.1),(66.8,53.1),(66.8,53.7),(69.4,53.7),(69.4,53.1),(74.8,53.1),(74.8,53.7),(77.4,53.7),(77.4,53.1),(82.8,53.1),(82.8,53.7),(85.4,53.7),(85.4,53.1),(90.8,53.1),(90.8,53.7),(93.4,53.7),(93.4,53.1),(98.8,53.1),(98.8,53.7),(101.4,53.7),(101.4,53.1),(106.8,53.1),(106.8,53.7),(109.4,53.7),(109.4,53.1),(114.8,53.1),(114.8,53.7),(117.4,53.7),(117.4,53.1),(122.8,53.1),(122.8,53.7),(125.4,53.7),(125.4,53.1),(130.8,53.1),(130.8,53.7),(133.4,53.7),(133.4,53.1),(138.8,53.1),(138.8,53.7),(141.4,53.7),(141.4,53.1),(146.8,53.1),(146.8,53.7),(149.4,53.7),(149.4,53.1),(154.8,53.1),(154.8,53.7),(157.4,53.7),(157.4,53.1),(162.8,53.1),(162.8,53.7),(165.4,53.7),(165.4,53.1),(170.8,53.1),(170.8,53.7),(173.4,53.7),(173.4,53.1),(178.8,53.1),(178.8,53.7),(181.4,53.7),(181.4,53.1),(186.8,53.1),(186.8,53.7),(189.4,53.7),(189.4,53.1),(194.8,53.1),(194.8,53.7),(197.4,53.7),(197.4,53.1),(202.8,53.1),(202.8,53.7),(205.4,53.7),(205.4,53.1),(210.8,53.1),(210.8,53.7),(213.4,53.7),(213.4,53.1),(218.8,53.1),(218.8,53.7),(221.4,53.7),(221.4,53.1),(226.8,53.1),(226.8,53.7),(229.4,53.7),(229.4,53.1),(234.8,53.1),(234.8,53.7),(237.4,53.7),(237.4,53.1),(242.8,53.1),(242.8,53.7),(245.4,53.7),(245.4,53.1),(250.8,53.1),(250.8,53.7),(253.4,53.7),(253.4,53.1),(258.8,53.1),(258.8,53.7),(261.4,53.7),(261.4,53.1),(266.8,53.1),(266.8,53.7),(269.4,53.7),(269.4,53.1),(274.8,53.1),(274.8,53.7),(277.4,53.7),(277.4,53.1),(282.8,53.1),(282.8,53.7),(285.4,53.7),(285.4,53.1),(290.8,53.1),(290.8,53.7),(293.4,53.7),(293.4,53.1),(298.8,53.1),(298.8,53.7),(301.4,53.7),(301.4,53.1),(306.8,53.1),(306.8,53.7),(309.4,53.7),(309.4,53.1),(314.8,53.1),(314.8,53.7),(317.4,53.7),(317.4,53.1),(322.8,53.1),(322.8,53.7),(325.4,53.7),(325.4,53.1),(330.8,53.1),(330.8,53.7),(333.4,53.7),(333.4,53.1),(338.8,53.1),(338.8,53.7),(341.4,53.7),(341.4,53.1),(346.8,53.1),(346.8,53.7),(349.4,53.7),(349.4,53.1),(354.8,53.1),(354.8,53.7),(357.4,53.7),(357.4,53.1),(362.8,53.1),(362.8,53.7),(365.4,53.7),(365.4,53.1),(370.8,53.1),(370.8,53.7),(-1.3,53.7),(-1.3,56.3),(380.8,56.3),(380.8,53.7),(373.4,53.7),(373.4,39.7),(370.8,39.7),(370.8,51.3),(365.4,51.3),(365.4,39.7),(362.8,39.7),(362.8,51.3),(357.4,51.3),(357.4,39.7),(354.8,39.7),(354.8,51.3),(349.4,51.3),(349.4,39.7),(346.8,39.7),(346.8,51.3),(341.4,51.3),(341.4,39.7),(338.8,39.7),(338.8,51.3),(333.4,51.3),(333.4,39.7),(330.8,39.7),(330.8,51.3),(325.4,51.3),(325.4,39.7),(322.8,39.7),(322.8,51.3),(317.4,51.3),(317.4,39.7),(314.8,39.7),(314.8,51.3),(309.4,51.3),(309.4,39.7),(306.8,39.7),(306.8,51.3),(301.4,51.3),(301.4,39.7),(298.8,39.7),(298.8,51.3),(293.4,51.3),(293.4,39.7),(290.8,39.7),(290.8,51.3),(285.4,51.3),(285.4,39.7),(282.8,39.7),(282.8,51.3),(277.4,51.3),(277.4,39.7),(274.8,39.7),(274.8,51.3),(269.4,51.3),(269.4,39.7),(266.8,39.7),(266.8,51.3),(261.4,51.3),(261.4,39.7),(258.8,39.7),(258.8,51.3),(253.4,51.3),(253.4,39.7),(250.8,39.7),(250.8,51.3),(245.4,51.3),(245.4,39.7),(242.8,39.7),(242.8,51.3),(237.4,51.3),(237.4,39.7),(234.8,39.7),(234.8,51.3),(229.4,51.3),(229.4,39.7),(226.8,39.7),(226.8,51.3),(221.4,51.3),(221.4,39.7),(218.8,39.7),(218.8,51.3),(213.4,51.3),(213.4,39.7),(210.8,39.7),(210.8,51.3),(205.4,51.3),(205.4,39.7),(202.8,39.7),(202.8,51.3),(197.4,51.3),(197.4,39.7),(194.8,39.7),(194.8,51.3),(189.4,51.3),(189.4,39.7),(186.8,39.7),(186.8,51.3),(181.4,51.3),(181.4,39.7),(178.8,39.7),(178.8,51.3),(173.4,51.3),(173.4,39.7),(170.8,39.7),(170.8,51.3),(165.4,51.3),(165.4,39.7),(162.8,39.7),(162.8,51.3),(157.4,51.3),(157.4,39.7),(154.8,39.7),(154.8,51.3),(149.4,51.3),(149.4,39.7),(146.8,39.7),(146.8,51.3),(141.4,51.3),(141.4,39.7),(138.8,39.7),(138.8,51.3),(133.4,51.3),(133.4,39.7),(130.8,39.7),(130.8,51.3),(125.4,51.3),(125.4,39.7),(122.8,39.7),(122.8,51.3),(117.4,51.3),(117.4,39.7),(114.8,39.7),(114.8,51.3),(109.4,51.3),(109.4,39.7),(106.8,39.7),(106.8,51.3),(101.4,51.3),(101.4,39.7),(98.8,39.7),(98.8,51.3),(93.4,51.3),(93.4,39.7),(90.8,39.7),(90.8,51.3),(85.4,51.3),(85.4,39.7),(82.8,39.7),(82.8,51.3),(77.4,51.3),(77.4,39.7),(74.8,39.7),(74.8,51.3),(69.4,51.3),(69.4,39.7),(66.8,39.7),(66.8,51.3),(61.4,51.3),(61.4,39.7),(58.8,39.7),(58.8,51.3),(53.4,51.3),(53.4,39.7),(50.8,39.7),(50.8,51.3),(45.4,51.3),(45.4,39.7),(42.8,39.7),(42.8,51.3),(37.4,51.3),(37.4,39.7),(34.8,39.7),(34.8,51.3),(29.4,51.3),(29.4,39.7),(26.8,39.7),(26.8,51.3),(21.4,51.3),(21.4,39.7),(18.8,39.7),(18.8,51.3),(13.4,51.3),(13.4,39.7),(10.8,39.7),(10.8,51.3),(5.4,51.3),(5.4,39.7)])
R(clkbuf_x16, NF, [(-6.3,23.2,385.8,61.3)])
R(clkbuf_x16, PF, [(-6.3,23.2,385.8,61.3)])
R(clkbuf_x16, NSD, [(-2.75,-2.7,382.25,2.7), (1.4,38.3,374.8,51.3)])
P(clkbuf_x16, HPM, [(-2.75,-2.7),(-2.75,3.7),(1.4,3.7),(1.4,9.9),(374.8,9.9),(374.8,3.7),(382.25,3.7),(382.25,-2.7)],
  [(1.4,38.3),(1.4,51.3),(-2.75,51.3),(-2.75,57.7),(382.25,57.7),(382.25,51.3),(374.8,51.3),(374.8,38.3)])
R(clkbuf_x16, PM, [(-2.75,52.3,382.25,57.7)])
P(clkbuf_x16, PM, [(-2.75,-2.7),(-2.75,3.7),(1.4,3.7),(1.4,9.9),(374.8,9.9),(374.8,3.7),(382.25,3.7),(382.25,-2.7)])
R(clkbuf_x16, NW, [(-7.8,21.7,387.3,62.8)])
R(clkbuf_x16, pin, [(-1.3,-1.3,380.8,1.3), (26.6,21.1,28.4,22.9), (367.6,21.1,369.4,22.9), (-1.3,53.7,380.8,56.3)])
R(clkbuf_x16, PSUB, [(-6.3,23.2,385.8,61.3)])
R(clkbuf_x16, PBE, [(0,32,379.5,52.7)])
R(clkbuf_x16, NBE, [(0,2.3,379.5,13.1)])
R(clkbuf_x16, DLWLMP, [(-7.8,21.7,387.3,62.8)])
R(clkbuf_x16, DLWLMN, [(-7.2,-6.3,386.7,21.7)])
R(clkbuf_x16, DLMP, [(1.4,38.3,374.8,51.3)])
R(clkbuf_x16, DLMN, [(1.4,3.7,374.8,9.9)])
R(clkbuf_x16, DLBGMP, [(-2.75,52.3,382.25,57.7)])
R(clkbuf_x16, DLBGMN, [(-2.75,-2.7,382.25,2.7)])
R(clkbuf_x16, prBoundary, [(0,0,379.5,55)])
clkbuf_x16.add(gdstk.Label('A', (27.5,22), layer=48, texttype=0))
clkbuf_x16.add(gdstk.Label('Y', (368.5,22), layer=48, texttype=0))
clkbuf_x16.add(gdstk.Label('vdd', (0,55), layer=48, texttype=0))
clkbuf_x16.add(gdstk.Label('gnd', (0,0), layer=48, texttype=0))

lib.write_gds('CLKBUF_X16.gds')
